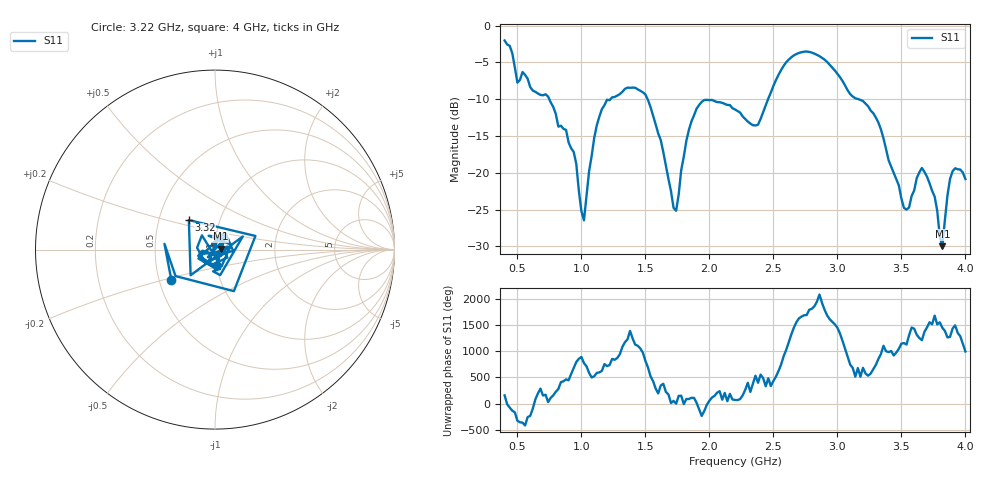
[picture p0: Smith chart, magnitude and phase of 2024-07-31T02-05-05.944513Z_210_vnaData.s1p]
!Created with skrf (http://scikit-rf.org).
# Hz S RI R 50.0
!freq ReS11 ImS11
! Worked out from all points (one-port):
!   181 points, 400 MHz to 4 GHz, reference 50 ohm
!   lowest |S11| = -30.0 dB at 3.82 GHz (marker M1), VSWR 1.07, Z = 53.2 + j0.567 ohm
!   |S11| at or under -10 dB: 749.1 MHz to 1.227 GHz (477.5 MHz wide, 48.3 % of centre); 1.517 GHz to 2.458 GHz (940.8 MHz wide, 47.3 % of centre); 3.165 GHz to end of sweep
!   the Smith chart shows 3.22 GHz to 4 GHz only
!   S11 on the Smith chart (normalised r, x): 3.22 GHz: 0.58, -0.21; 3.32 GHz: 0.71, +0.25; 4 GHz: 1.01, -0.18
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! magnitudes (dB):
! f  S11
! 400 MHz  -2.0
! 500 MHz  -7.7
! 740 MHz  -9.6
! 860 MHz  -14.0
! 940 MHz  -17.2
! 1.02 GHz  -26.5
! 1.12 GHz  -13.6
! 1.3 GHz  -9.3
! 1.5 GHz  -9.4
! 1.62 GHz  -15.6
! 1.72 GHz  -24.8
! 1.76 GHz  -23.0
! 1.82 GHz  -15.6
! 1.9 GHz  -11.3
! 2.2 GHz  -11.4
! 2.38 GHz  -13.5
! 2.66 GHz  -4.0
! 2.88 GHz  -4.4
! 3.1 GHz  -9.3
! 3.22 GHz  -10.6
! 3.32 GHz  -13.2
! 3.52 GHz  -24.8
! 3.56 GHz  -24.7
! 3.66 GHz  -19.4
! 3.76 GHz  -23.3
! 3.82 GHz  -30.0
! 3.9 GHz  -19.8
! 4 GHz  -20.9
